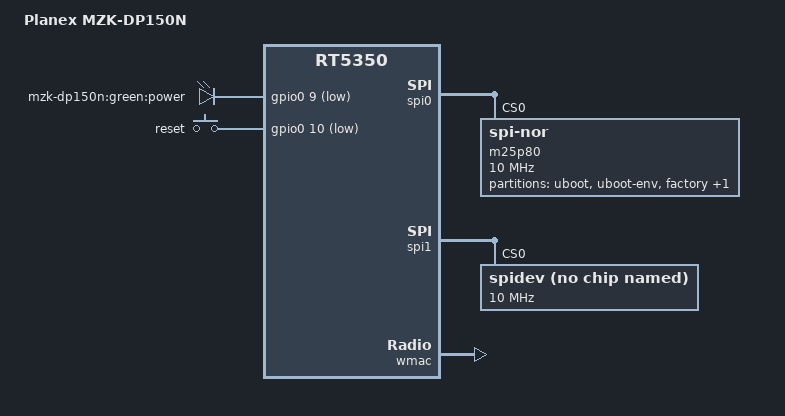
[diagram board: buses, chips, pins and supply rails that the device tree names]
/dts-v1/;

#include "rt5350.dtsi"

#include <dt-bindings/gpio/gpio.h>
#include <dt-bindings/input/input.h>

/ {
	compatible = "planex,mzk-dp150n", "ralink,rt5350-soc";
	model = "Planex MZK-DP150N";

	aliases {
		led-boot = &led_power;
		led-failsafe = &led_power;
		led-running = &led_power;
		led-upgrade = &led_power;
	};

	gpio-leds {
		compatible = "gpio-leds";

		led_power: power {
			label = "mzk-dp150n:green:power";
			gpios = <&gpio0 9 GPIO_ACTIVE_LOW>;
		};
	};

	gpio-keys-polled {
		compatible = "gpio-keys-polled";
		poll-interval = <20>;

		reset {
			label = "reset";
			gpios = <&gpio0 10 GPIO_ACTIVE_LOW>;
			linux,code = <KEY_RESTART>;
		};
	};
};

&gpio1 {
	status = "okay";
};

&spi0 {
	status = "okay";

	m25p80@0 {
		compatible = "jedec,spi-nor";
		reg = <0>;
		spi-max-frequency = <10000000>;

		partitions {
			compatible = "fixed-partitions";
			#address-cells = <1>;
			#size-cells = <1>;

			partition@0 {
				label = "uboot";
				reg = <0x0 0x30000>;
				read-only;
			};

			partition@30000 {
				label = "uboot-env";
				reg = <0x30000 0x10000>;
				read-only;
			};

			factory: partition@40000 {
				label = "factory";
				reg = <0x40000 0x10000>;
				read-only;
			};

			partition@50000 {
				compatible = "denx,uimage";
				label = "firmware";
				reg = <0x50000 0x3b0000>;
			};
		};
	};
};

&spi1 {
	spidev@0 {
		compatible = "linux,spidev";
		spi-max-frequency = <10000000>;
		reg = <0>;
	};
};

&pinctrl {
	state_default: pinctrl0 {
		gpio {
			ralink,group = "jtag", "uartf", "led";
			ralink,function = "gpio";
		};
	};
};

&ethernet {
	mtd-mac-address = <&factory 0x4>;
};

&esw {
	mediatek,portmap = <0x17>;
};

&wmac {
	ralink,mtd-eeprom = <&factory 0>;
	ralink,led-polarity = <1>;
};
